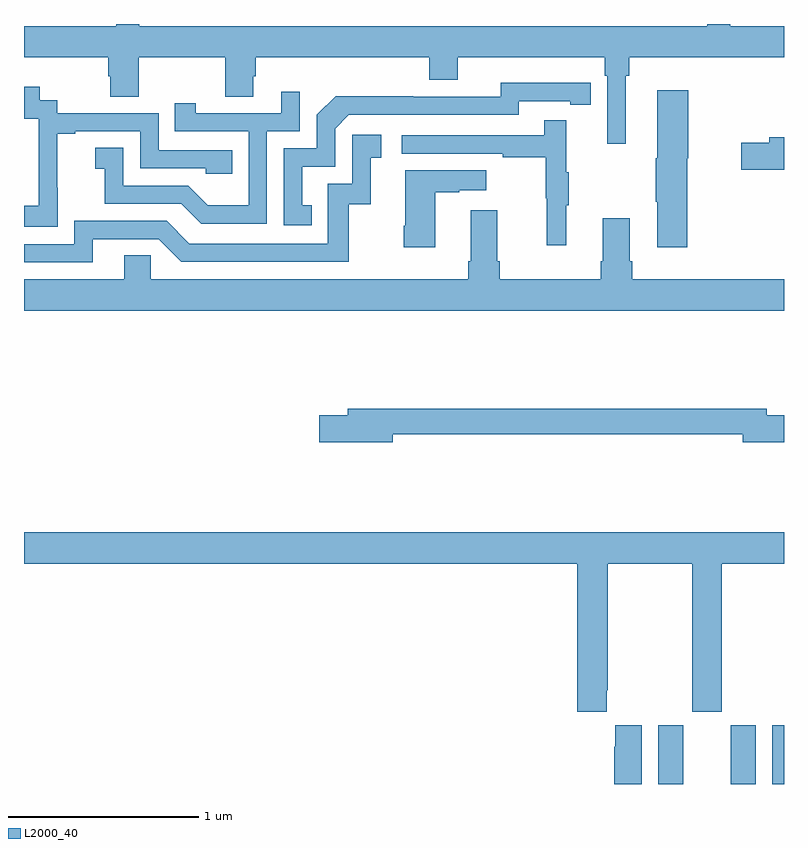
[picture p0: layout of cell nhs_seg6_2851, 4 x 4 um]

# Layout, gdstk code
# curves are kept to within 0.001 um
import gdstk
lib = gdstk.Library(unit=1e-6, precision=1e-09)
def R(c, l, rs):  # rectangles x0, y0, x1, y1
    for r in rs: c.add(gdstk.rectangle(r[:2], r[2:], *l))
def P(c, l, *ps):  # polygons
    for p in ps: c.add(gdstk.Polygon(p, *l))
L2000_40 = (2000, 40)

nhs_seg6_2851 = lib.new_cell('nhs_seg6_2851')
R(nhs_seg6_2851, L2000_40, [(282.338,955.5,282.469,955.81), (282.719,955.5,282.85,955.81), (282.938,955.5,283,955.81)])
P(nhs_seg6_2851, L2000_40, [(282.166,959.228),(282.185,959.228),(282.185,959.324),(283,959.324),(283,959.488),(282.716,959.488),(282.716,959.5),(282.595,959.5),(282.595,959.488),(279.607,959.488),(279.607,959.5),(279.486,959.5),(279.486,959.488),(279,959.488),(279,959.324),(279.443,959.324),(279.443,959.226),(279.455,959.226),(279.455,959.116),(279.603,959.116),(279.603,959.324),(280.06,959.324),(280.06,959.116),(280.207,959.116),(280.207,959.226),(280.22,959.226),(280.22,959.324),(281.132,959.324),(281.132,959.207),(281.284,959.207),(281.284,959.324),(282.056,959.324),(282.056,959.228),(282.069,959.228),(282.069,958.869),(282.166,958.869)],
  [(280.514,958.545),(280.465,958.545),(280.465,958.749),(280.638,958.749),(280.638,958.95),(280.71,959.022),(281.604,959.022),(281.604,959.094),(281.876,959.094),(281.876,959.074),(281.984,959.074),(281.984,959.19),(281.508,959.191),(281.508,959.118),(281.048,959.118),(281.048,959.12),(280.64,959.12),(280.542,959.022),(280.542,958.845),(280.368,958.845),(280.368,958.44),(280.514,958.44)],
  [(279.177,958.639),(279.176,958.639),(279.176,958.923),(279.271,958.923),(279.271,958.935),(279.612,958.935),(279.612,958.74),(279.957,958.74),(279.957,958.713),(280.097,958.713),(280.097,958.836),(279.708,958.836),(279.708,959.031),(279.174,959.031),(279.174,959.1),(279.082,959.1),(279.082,959.17),(279,959.17),(279,959.001),(279.078,959.001),(279.078,958.772),(279.077,958.772),(279.077,958.543),(279,958.543),(279,958.433),(279.177,958.433)],
  [(282.491,958.794),(282.496,958.794),(282.496,959.152),(282.332,959.152),(282.332,958.794),(282.325,958.794),(282.325,958.564),(282.332,958.564),(282.332,958.326),(282.491,958.326)],
  [(280.278,958.935),(280.452,958.935),(280.452,959.143),(280.355,959.143),(280.355,959.031),(279.904,959.031),(279.904,959.083),(279.793,959.083),(279.793,958.935),(280.182,958.935),(280.182,958.546),(279.968,958.546),(279.864,958.65),(279.522,958.65),(279.522,958.849),(279.375,958.849),(279.375,958.739),(279.424,958.739),(279.424,958.554),(279.827,958.554),(279.932,958.449),(280.278,958.449)],
  [(281.855,958.547),(281.866,958.547),(281.866,958.721),(281.855,958.721),(281.855,958.993),(281.737,958.993),(281.737,958.914),(280.989,958.914),(280.989,958.818),(281.521,958.818),(281.521,958.798),(281.745,958.798),(281.745,958.584),(281.752,958.584),(281.752,958.335),(281.855,958.335)],
  [(279.361,958.368),(279.708,958.368),(279.828,958.248),(280.708,958.248),(280.708,958.551),(280.826,958.551),(280.826,958.797),(280.879,958.797),(280.879,958.918),(280.728,958.918),(280.728,958.659),(280.599,958.659),(280.599,958.344),(279.87,958.344),(279.75,958.464),(279.264,958.464),(279.264,958.341),(279,958.341),(279,958.245),(279.361,958.245)],
  [(283,958.905),(282.923,958.905),(282.923,958.875),(282.774,958.875),(282.774,958.733),(283,958.733)],
  [(281.164,958.615),(281.291,958.615),(281.291,958.625),(281.434,958.625),(281.434,958.729),(281.006,958.729),(281.006,958.438),(280.999,958.438),(280.999,958.326),(281.164,958.326)],
  [(283,958.156),(282.2,958.156),(282.2,958.252),(282.187,958.252),(282.187,958.477),(282.047,958.477),(282.047,958.252),(282.035,958.252),(282.035,958.156),(281.504,958.156),(281.504,958.252),(281.491,958.252),(281.491,958.519),(281.351,958.519),(281.351,958.252),(281.339,958.252),(281.339,958.156),(279.666,958.156),(279.666,958.283),(279.527,958.283),(279.527,958.156),(279,958.156),(279,957.992),(283,957.992)],
  [(280.942,957.34),(282.782,957.34),(282.782,957.298),(283,957.298),(283,957.44),(282.91,957.44),(282.91,957.476),(280.703,957.476),(280.703,957.44),(280.554,957.44),(280.554,957.298),(280.942,957.298)],
  [(282.067,955.993),(282.072,955.993),(282.072,956.66),(282.517,956.66),(282.517,955.881),(282.672,955.881),(282.672,956.66),(283,956.66),(283,956.824),(279,956.824),(279,956.66),(281.912,956.66),(281.912,955.881),(282.067,955.881)],
  [(282.25,955.81),(282.113,955.81),(282.113,955.697),(282.107,955.697),(282.107,955.5),(282.25,955.5)])

lib.write_gds('nhs_seg6_2851.gds')
